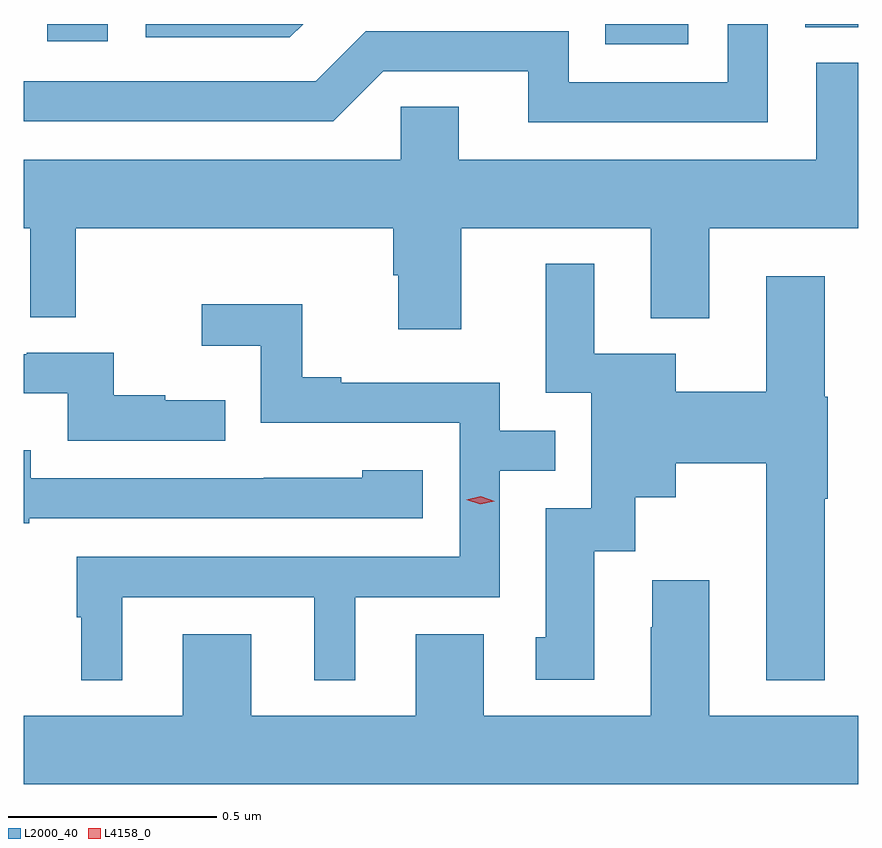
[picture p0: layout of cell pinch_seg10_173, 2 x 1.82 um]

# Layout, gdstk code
import gdstk
lib = gdstk.Library(unit=1e-6, precision=1e-09)
def R(c, l, rs):  # rectangles x0, y0, x1, y1
    for r in rs: c.add(gdstk.rectangle(r[:2], r[2:], *l))
def P(c, l, *ps):  # polygons
    for p in ps: c.add(gdstk.Polygon(p, *l))
L2000_40 = (2000, 40)
L4158_0 = (4158, 0)

pinch_seg10_173 = lib.new_cell('pinch_seg10_173')
R(pinch_seg10_173, L2000_40, [(654.4,1254.137,654.598,1254.185), (653.062,1254.144,653.208,1254.185), (654.879,1254.177,655.006,1254.185)])
P(pinch_seg10_173, L2000_40, [(654.789,1254.185),(654.693,1254.185),(654.693,1254.045),(654.312,1254.045),(654.312,1254.168),(653.826,1254.168),(653.706,1254.048),(653.006,1254.048),(653.006,1253.952),(653.748,1253.952),(653.868,1254.072),(654.215,1254.072),(654.215,1253.949),(654.789,1253.949)],
  [(653.676,1254.185),(653.298,1254.185),(653.298,1254.153),(653.644,1254.153)],
  [(654.055,1253.696),(654.509,1253.696),(654.509,1253.48),(654.649,1253.48),(654.649,1253.696),(655.006,1253.696),(655.006,1254.092),(654.905,1254.092),(654.905,1253.86),(654.049,1253.86),(654.049,1253.987),(653.91,1253.987),(653.91,1253.86),(653.006,1253.86),(653.006,1253.696),(653.022,1253.696),(653.022,1253.482),(653.131,1253.482),(653.131,1253.696),(653.891,1253.696),(653.891,1253.583),(653.903,1253.583),(653.903,1253.454),(654.055,1253.454)],
  [(654.925,1253.048),(654.933,1253.048),(654.933,1253.292),(654.925,1253.292),(654.925,1253.581),(654.785,1253.581),(654.785,1253.304),(654.568,1253.304),(654.568,1253.395),(654.373,1253.395),(654.373,1253.611),(654.257,1253.611),(654.257,1253.301),(654.366,1253.301),(654.366,1253.025),(654.257,1253.025),(654.257,1252.716),(654.233,1252.716),(654.233,1252.614),(654.373,1252.614),(654.373,1252.922),(654.471,1252.922),(654.471,1253.051),(654.568,1253.051),(654.568,1253.132),(654.785,1253.132),(654.785,1252.613),(654.925,1252.613)],
  [(653.242,1252.812),(653.702,1252.812),(653.702,1252.613),(653.8,1252.613),(653.8,1252.812),(654.147,1252.812),(654.147,1253.115),(654.28,1253.115),(654.28,1253.211),(654.147,1253.211),(654.147,1253.325),(653.767,1253.325),(653.767,1253.338),(653.673,1253.338),(653.673,1253.513),(653.433,1253.513),(653.433,1253.414),(653.574,1253.414),(653.574,1253.229),(654.051,1253.229),(654.051,1252.908),(653.133,1252.908),(653.133,1252.764),(653.144,1252.764),(653.144,1252.613),(653.242,1252.613)],
  [(653.489,1253.284),(653.345,1253.284),(653.345,1253.296),(653.222,1253.296),(653.222,1253.397),(653.014,1253.397),(653.014,1253.394),(653.006,1253.394),(653.006,1253.3),(653.112,1253.3),(653.112,1253.187),(653.489,1253.187)],
  [(653.019,1253.001),(653.962,1253.001),(653.962,1253.116),(653.817,1253.116),(653.817,1253.098),(653.581,1253.098),(653.581,1253.097),(653.023,1253.097),(653.023,1253.164),(653.006,1253.164),(653.006,1252.989),(653.019,1252.989)],
  [(655.006,1252.528),(654.649,1252.528),(654.649,1252.852),(654.512,1252.852),(654.512,1252.739),(654.509,1252.739),(654.509,1252.528),(654.109,1252.528),(654.109,1252.723),(653.945,1252.723),(653.945,1252.528),(653.551,1252.528),(653.551,1252.723),(653.387,1252.723),(653.387,1252.528),(653.006,1252.528),(653.006,1252.364),(655.006,1252.364)])
P(pinch_seg10_173, L4158_0, [(654.1,1253.034),(654.067,1253.045),(654.066,1253.045),(654.067,1253.045),(654.101,1253.054),(654.135,1253.042),(654.135,1253.042),(654.135,1253.042)])

lib.write_gds('pinch_seg10_173.gds')
